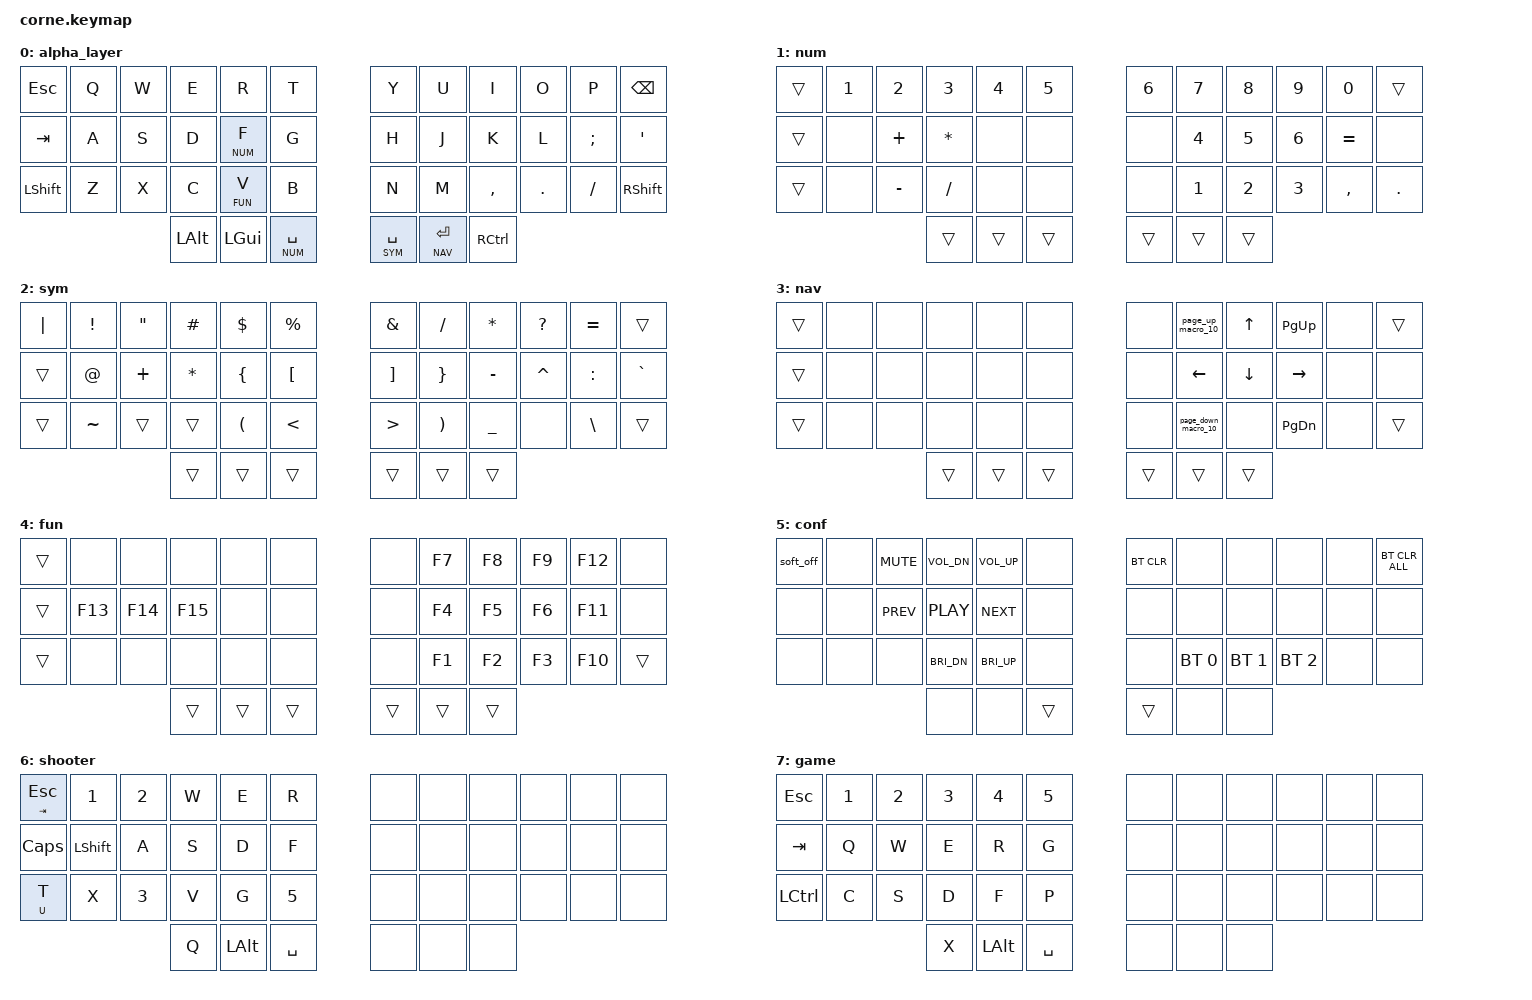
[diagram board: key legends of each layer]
/*
 * Copyright (c) 2020 The ZMK Contributors
 *
 * SPDX-License-Identifier: MIT
 */

#include <behaviors.dtsi>
#include <dt-bindings/zmk/keys.h>
#include <dt-bindings/zmk/bt.h>

#define BASE 0
#define NUM 1
#define SYM 2
#define NAV 3
#define FUN 4
#define CONF 5
#define SHOOTER 6
#define GAME 7

// BEHAVIORS CONFIGURATION

&lt {
    tapping-term-ms = <130>; // This is the value already set by default
    flavor = "tap-preferred";
};

&mt {
    tapping-term-ms = <250>;
    quick-tap-ms = <180>;
    flavor = "tap-preferred";
};

// MACROS

/ {
        macros {
                page_up_macro_10: page_up_macro_10 {
                        compatible = "zmk,behavior-macro";
                        #binding-cells = <0>;
                        wait-ms = <0>;
                        tap-ms = <0>;
                        bindings = <&kp UP &kp UP &kp UP &kp UP &kp UP &kp UP &kp UP &kp UP &kp UP &kp UP>;
                };

                page_down_macro_10: page_down_macro_10 {
                        compatible = "zmk,behavior-macro";
                        #binding-cells = <0>;
                        wait-ms = <0>;
                        tap-ms = <0>;
                        bindings = <&kp DOWN &kp DOWN &kp DOWN &kp DOWN &kp DOWN &kp DOWN &kp DOWN &kp DOWN &kp DOWN &kp DOWN>;
                };

                ht_tap: ht_tap {
                label = "HT_TAP";
                compatible = "zmk,behavior-macro-one-param";
                #binding-cells = <1>;      // &ht_tap <key>
                wait-ms = <0>;
                tap-ms  = <50>;

                bindings =
                        <&macro_param_1to1>,   // usa el parámetro que le pasas (&kp <KEY>)
                        <&macro_tap &kp MACRO_PLACEHOLDER>;
                };
        };
};

// BEHAVIORS

/ {
    behaviors {
        ht: ht {
                compatible = "zmk,behavior-hold-tap";
                label = "HT_MOD_TAP";
                #binding-cells = <2>;      // igual que &mt: &ht <hold> <tap>
    
                tapping-term-ms = <250>;
                quick-tap-ms = <180>;
                flavor = "tap-preferred";

                // hold = &kp, tap = macro con tap-ms=50
                bindings = <&kp>, <&ht_tap>;
        };
    };
};

// KEYMAPS

/ {
        keymap {
                compatible = "zmk,keymap";

                alpha_layer {
// -----------------------------------------------------------------------------------------
// | ESC    | Q | W | E       | R       | T         |          |  Y         | U     |  I     |  O  |  P  | BSPC   |
// | TAB    | A | S | D       | F [num] | G         |          |  H         | J     |  K     |  L  |  ;  | '      |
// | LSHIFT | Z | X | C       | V [fun] | B         |          |  N         | M     |  ,     |  .  |  /  | RSHIFT |
//                  | LALT    | LGUI    | SPC [num] |  [conf]  |  ENT [sym] | [nav] |  RCTRL |
                        bindings = <
   &kp ESC    &kp Q &kp W &kp E    &kp R     &kp T            &kp Y         &kp U         &kp I     &kp O   &kp P     &kp BSPC
   &kp TAB    &kp A &kp S &kp D    &lt NUM F &kp G            &kp H         &kp J         &kp K     &kp L   &kp SEMI  &kp SQT
   &kp LSHIFT &kp Z &kp X &kp C    &lt FUN V &kp B            &kp N         &kp M         &kp COMMA &kp DOT &kp SLASH &kp RSHIFT
                          &kp LALT &kp LGUI  &lt NUM SPACE    &lt SYM SPACE &lt NAV ENTER &kp RCTRL
                        >;
                };

                num {
// -----------------------------------------------------------------------------------------
// | XXX |  1  |  2  |  3  |  4  |  5  |   |  6   |  7  |  8  |  9  |  0  | XXX |
// | XXX |     |  +  |  *  |     |     |   |      |  4  |  5  |  6  |  =  |     |
// | XXX |     |  -  |  /  |     |     |   |      |  1  |  2  |  3  |  ,  |  .  |
//                   | XXX | XXX | XXX |   |[conf]| XXX | XXX |
                        bindings = <
   &trans &kp N1 &kp N2    &kp N3    &kp N4 &kp N5         &kp N6 &kp N7 &kp N8 &kp N9 &kp N0    &trans
   &trans &none  &kp PLUS  &kp ASTRK &none  &none          &none  &kp N4 &kp N5 &kp N6 &kp EQUAL &none
   &trans &none  &kp MINUS &kp SLASH &none  &none          &none  &kp N1 &kp N2 &kp N3 &kp COMMA &kp DOT
                           &trans    &trans &trans         &trans &trans &trans
                        >;
                };

                sym {
// -----------------------------------------------------------------------------------------
// | "|" |  !  |  "  | #   | $   |   %  |   | &   | /   | *   |  ?  | = | XXX |
// | XXX |  @  |  +  | *   | {   |   [  |   | ]   | }   | -   |  ^  | : | `   |
// | XXX |     |     |     | (   |   <  |   | >   | )   | _   |     | \ | XXX |
//                   | XXX | XXX |[conf]|   | XXX | XXX | XXX |
                        bindings = <
   &kp PIPE &kp EXCL  &kp DQT   &kp HASH  &kp DLLR &kp PRCNT         &kp AMPS  &kp SLASH  &kp ASTRK &kp QMARK &kp EQUAL  &trans
   &trans   &kp AT    &kp PLUS  &kp ASTRK &kp LBRC &kp LBKT          &kp RBKT  &kp RBRC   &kp MINUS &kp CARET &kp COLON  &kp GRAVE
   &trans   &kp TILDE &trans    &trans    &kp LPAR &kp LT            &kp GT    &kp RPAR   &kp UNDER &none     &kp BSLH   &trans
                                &trans    &trans   &trans            &trans    &trans     &trans
                        >;
                };

                nav {
// -----------------------------------------------------------------------------------------
// | XXX |     |     |     |     |     |   |     | P_UP_10 | UP   |       |     |  XXX |
// | XXX |     |     |     |     |     |   |     | LEFT    | DOWN | RIGHT |     |      |
// | XXX |     |     |     |     |     |   |     | P_DN_10 |      |       |     |  XXX |
//                   | XXX | XXX | XXX |   | XXX |   XXX   | XXX  |
                        bindings = <
   &trans &none &none &none  &none  &none     &none  &page_up_macro_10   &kp UP   &kp PAGE_UP   &none &trans
   &trans &none &none &none  &none  &none     &none  &kp LEFT            &kp DOWN &kp RIGHT     &none &none
   &trans &none &none &none  &none  &none     &none  &page_down_macro_10 &none    &kp PAGE_DOWN &none &trans
                      &trans &trans &trans    &trans &trans              &trans
                        >;
                };

                fun {
// -----------------------------------------------------------------------------------------
// | XXX |     |     |     |     |     |   |     | F7  | F8  | F9 | F12 |  XXX |
// | XXX | F13 | F14 | F15 |     |     |   |     | F4  | F5  | F6 | F11 |      |
// | XXX |     |     |     |     |     |   |     | F1  | F2  | F3 | F10 |  XXX |
//                   | XXX | XXX | XXX |   | XXX | XXX | XXX |
                        bindings = <
   &trans &none   &none   &none   &none  &none     &none  &kp F7 &kp F8 &kp F9 &kp F12 &none
   &trans &kp F13 &kp F14 &kp F15 &none  &none     &none  &kp F4 &kp F5 &kp F6 &kp F11 &none
   &trans &none   &none   &none   &none  &none     &none  &kp F1 &kp F2 &kp F3 &kp F10 &trans
                          &trans  &trans &trans    &trans &trans &trans
                        >;
                };
                
                conf {
// -----------------------------------------------------------------------------------------
// | OFF |     | MUTE | VOL- | VOL+ |     |         |BTCLR|     |     |     |     |CLR AL|
// |     |     | PREV | PLAY | NEXT |     |         |     |     |     |     |     |      |
// |     |     |      | BRGD | BRGU |     |         |     |     |     |     |     |      |
//                    |      |      |     |         |     | BT1 | BT2 | BT3
                        bindings = <
   &soft_off &none &kp C_MUTE &kp C_VOL_DN  &kp C_VOL_UP &none          &bt BT_CLR  &none        &none        &none        &none &bt BT_CLR_ALL
   &none     &none &kp C_PREV &kp C_PLAY    &kp C_NEXT   &none          &none       &none        &none        &none        &none &none
   &none     &none &none      &kp C_BRI_DN  &kp C_BRI_UP &none          &none       &bt BT_SEL 0 &bt BT_SEL 1 &bt BT_SEL 2 &none &none
                              &none         &none        &trans         &trans      &none        &none
                        >;
                };
                
                shooter {
// -----------------------------------------------------------------------------------------
// | TAB/ESC |   1   | 2 | W | E | R |         |   |   |   |   |   |   |
// |  CAPS   | LSHFT | A | S | D | F |         |   |   |   |   |   |   |
// | U/T     |   X   | 3 | V | G | 5 |         |   |   |   |   |   |   |
//                   |CRT|ALT|SPC|         |   |   |   |
                        bindings = <
   &ht TAB ESC &kp N1    &kp N2 &kp W   &kp E   &kp R           &none &none &none &none &none &none
   &kp CAPS    &kp LSHFT &kp A  &kp S   &kp D   &kp F           &none &none &none &none &none &none
   &ht U T     &kp X     &kp N3 &kp V   &kp G   &kp N5          &none &none &none &none &none &none
                          &kp Q  &kp LALT &kp SPACE     &none &none &none
                        >;
                };
                
                game {
// -----------------------------------------------------------------------------------------
// | ESC |   1   | 2 | W | E | R |         |   |   |   |   |   |   |
// |     | LSHFT | A | S | D | F |         |   |   |   |   |   |   |
// |  T  |  X  |   | 3 | 4 | 5 |           |   |   |   |   |   |   |
//                   |CRT|ALT|SPC|         |   |   |   |
                        bindings = <
   &kp ESC   &kp N1 &kp N2    &kp N3   &kp N4    &kp N5           &none &none &none &none &none &none
   &kp TAB   &kp Q  &kp W     &kp E    &kp R     &kp G            &none &none &none &none &none &none
   &kp LCTRL &kp C  &kp S     &kp D    &kp F     &kp P            &none &none &none &none &none &none
                              &kp X    &kp LALT  &kp SPACE        &none &none &none
                        >;
                };

                conditional_layers {
                        compatible = "zmk,conditional-layers";
                        
                        tri_layer {
                                if-layers = <NUM SYM>;
                                then-layer = <CONF>;
                        };
                };

                combos { 
                        compatible = "zmk,combos";

                        combo_caps_lock {
                                timeout-ms = <50>;
                                key-positions = <24 35>;
                                layers = <0 1 2 3 4>;
                                bindings = <&kp CAPSLOCK>;
                        };

                        combo_del {
                                timeout-ms = <50>;
                                key-positions = <8 11>;
                                layers = <0 1 2 3>;
                                bindings = <&kp DEL>;
                        };

                        toggle_shooter {
                                timeout-ms = <50>;
                                key-positions = <0 1 2>;
                                layers = <BASE SHOOTER>;
                                bindings = <&tog SHOOTER>;
                        };

                        toggle_game {
                                timeout-ms = <50>;
                                key-positions = <1 2 3>;
                                layers = <BASE GAME>;
                                bindings = <&tog GAME>;
                        };

                        turn_of_from_game {
                                timeout-ms = <50>;
                                key-positions = <3 4 5>;
                                layers = <SHOOTER GAME>;
                                bindings = <&soft_off>;
                        };
                };
        };
};
